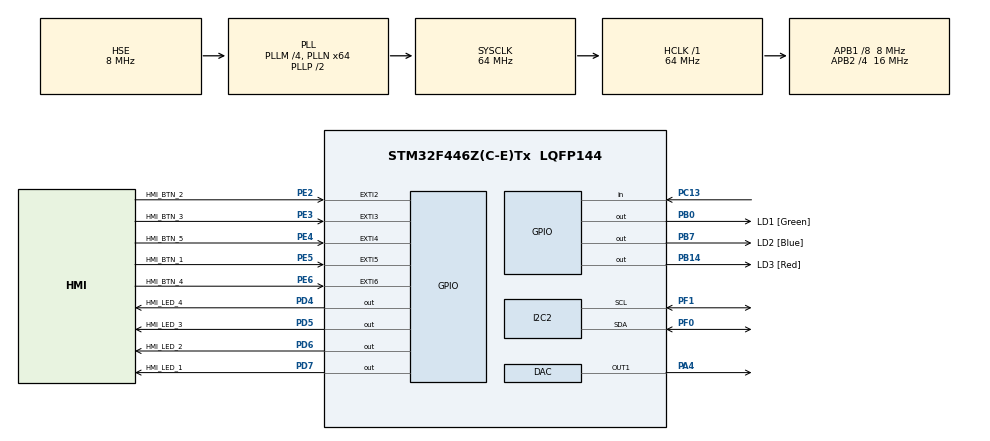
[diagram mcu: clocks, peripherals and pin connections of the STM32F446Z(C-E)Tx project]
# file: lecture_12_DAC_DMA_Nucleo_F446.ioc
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DAC.DAC_Trigger=DAC_TRIGGER_T2_TRGO
Dma.DAC1.0.Direction=DMA_MEMORY_TO_PERIPH
Dma.DAC1.0.FIFOMode=DMA_FIFOMODE_DISABLE
Dma.DAC1.0.Instance=DMA1_Stream5
Dma.DAC1.0.MemDataAlignment=DMA_MDATAALIGN_WORD
Dma.DAC1.0.MemInc=DMA_MINC_ENABLE
Dma.DAC1.0.Mode=DMA_CIRCULAR
Dma.DAC1.0.PeriphDataAlignment=DMA_PDATAALIGN_WORD
Dma.DAC1.0.PeriphInc=DMA_PINC_DISABLE
Dma.DAC1.0.Priority=DMA_PRIORITY_LOW
Dma.Request0=DAC1
Mcu.Family=STM32F4
Mcu.Name=STM32F446Z(C-E)Tx
Mcu.Package=LQFP144
NVIC.DMA1_Stream5_IRQn=true\:0\:0\:false\:false\:true\:false\:true\:true
NVIC.EXTI2_IRQn=true\:0\:0\:false\:false\:true\:true\:true\:true
NVIC.EXTI3_IRQn=true\:0\:0\:false\:false\:true\:true\:true\:true
NVIC.EXTI4_IRQn=true\:0\:0\:false\:false\:true\:true\:true\:true
NVIC.EXTI9_5_IRQn=true\:0\:0\:false\:false\:true\:true\:true\:true
NVIC.PriorityGroup=NVIC_PRIORITYGROUP_4
PA13.Mode=Serial_Wire
PA13.Signal=SYS_JTMS-SWDIO
PA14.Mode=Serial_Wire
PA14.Signal=SYS_JTCK-SWCLK
PA4.Signal=COMP_DAC1_group
PB0.GPIO_Label=LD1 [Green]
PB0.Signal=GPIO_Output
PB14.GPIO_Label=LD3 [Red]
PB14.Signal=GPIO_Output
PB7.GPIO_Label=LD2 [Blue]
PB7.Signal=GPIO_Output
PC13.Signal=GPIO_Input
PC14-OSC32_IN.Mode=LSE-External-Oscillator
PC14-OSC32_IN.Signal=RCC_OSC32_IN
PC15-OSC32_OUT.Mode=LSE-External-Oscillator
PC15-OSC32_OUT.Signal=RCC_OSC32_OUT
PD4.GPIO_Label=HMI_LED_4
PD4.GPIO_ModeDefaultOutputPP=GPIO_MODE_OUTPUT_PP
PD4.GPIO_PuPd=GPIO_NOPULL
PD4.GPIO_Speed=GPIO_SPEED_FREQ_LOW
PD4.PinState=GPIO_PIN_RESET
PD4.Signal=GPIO_Output
PD5.GPIO_Label=HMI_LED_3
PD5.GPIO_ModeDefaultOutputPP=GPIO_MODE_OUTPUT_PP
PD5.GPIO_PuPd=GPIO_NOPULL
PD5.GPIO_Speed=GPIO_SPEED_FREQ_LOW
PD5.PinState=GPIO_PIN_RESET
PD5.Signal=GPIO_Output
PD6.GPIO_Label=HMI_LED_2
PD6.GPIO_ModeDefaultOutputPP=GPIO_MODE_OUTPUT_PP
PD6.GPIO_PuPd=GPIO_NOPULL
PD6.GPIO_Speed=GPIO_SPEED_FREQ_LOW
PD6.PinState=GPIO_PIN_RESET
PD6.Signal=GPIO_Output
PD7.GPIO_Label=HMI_LED_1
PD7.GPIO_ModeDefaultOutputPP=GPIO_MODE_OUTPUT_PP
PD7.GPIO_PuPd=GPIO_NOPULL
PD7.GPIO_Speed=GPIO_SPEED_FREQ_LOW
PD7.PinState=GPIO_PIN_RESET
PD7.Signal=GPIO_Output
PE2.GPIO_Label=HMI_BTN_2
PE2.GPIO_ModeDefaultEXTI=GPIO_MODE_IT_RISING_FALLING
PE2.Signal=GPXTI2
PE3.GPIO_Label=HMI_BTN_3
PE3.GPIO_ModeDefaultEXTI=GPIO_MODE_IT_RISING_FALLING
PE3.Signal=GPXTI3
PE4.GPIO_Label=HMI_BTN_5
PE4.GPIO_ModeDefaultEXTI=GPIO_MODE_IT_RISING_FALLING
PE4.Signal=GPXTI4
PE5.GPIO_Label=HMI_BTN_1
PE5.GPIO_ModeDefaultEXTI=GPIO_MODE_IT_RISING_FALLING
PE5.Signal=GPXTI5
PE6.GPIO_Label=HMI_BTN_4
PE6.GPIO_ModeDefaultEXTI=GPIO_MODE_IT_RISING_FALLING
PE6.Signal=GPXTI6
PF0.Mode=I2C
PF0.Signal=I2C2_SDA
PF1.Mode=I2C
PF1.Signal=I2C2_SCL
PH0-OSC_IN.Mode=HSE-External-Clock-Source
PH0-OSC_IN.Signal=RCC_OSC_IN
PH1-OSC_OUT.Mode=HSE-External-Clock-Source
PH1-OSC_OUT.Signal=RCC_OSC_OUT
ProjectManager.HeapSize=0x200
ProjectManager.StackSize=0x400
ProjectManager.TargetToolchain=STM32CubeIDE
RCC.48MHZClocksFreq_Value=24000000
RCC.AHBFreq_Value=64000000
RCC.APB1CLKDivider=RCC_HCLK_DIV8
RCC.APB1Freq_Value=8000000
RCC.APB1TimFreq_Value=16000000
RCC.APB2CLKDivider=RCC_HCLK_DIV4
RCC.APB2Freq_Value=16000000
RCC.APB2TimFreq_Value=32000000
RCC.CortexFreq_Value=64000000
RCC.HCLKFreq_Value=64000000
RCC.HSE_VALUE=8000000
RCC.HSI_VALUE=16000000
RCC.PLLM=4
RCC.PLLMUL=RCC_PLL_MUL9
RCC.PLLN=64
RCC.PLLQ=7
RCC.PLLSourceVirtual=RCC_PLLSOURCE_HSE
RCC.PRESCALERUSB=RCC_USBCLKSOURCE_PLL_DIV1_5
RCC.SYSCLKFreq_VALUE=64000000
RCC.SYSCLKSource=RCC_SYSCLKSOURCE_PLLCLK
RCC.SYSCLKSourceVirtual=RCC_SYSCLKSOURCE_PLLCLK
RCC.USBFreq_Value=18285714.285714287
RCC.VCOOutputFreq_Value=128000000
SH.COMP_DAC1_group.0=DAC_OUT1,DAC_OUT1
TIM2.Period=999
TIM2.Prescaler=15
TIM2.TIM_MasterOutputTrigger=TIM_TRGO_UPDATE
VP_TIM2_VS_ClockSourceINT.Mode=Internal
board=NUCLEO-F446ZE

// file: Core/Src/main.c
/* USER CODE BEGIN Header */
/**
  ******************************************************************************
  * @file           : main.c
  * @brief          : Main program body
  ******************************************************************************
  * @attention
  *
  * Copyright (c) 2024 STMicroelectronics.
  * All rights reserved.
  *
  * This software is licensed under terms that can be found in the LICENSE file
  * in the root directory of this software component.
  * If no LICENSE file comes with this software, it is provided AS-IS.
  *
  ******************************************************************************
  */
/* USER CODE END Header */
#include "main.h"
#include "dac.h"
#include "dma.h"
#include "i2c.h"
#include "tim.h"
#include "gpio.h"

/* USER CODE BEGIN Includes */
#include "math.h"
#include "OLED.h"
#include "stdio.h"
/* USER CODE END Includes */

/* USER CODE BEGIN PV */
uint32_t normal_ekg[100];
uint32_t broken_ekg[100];

uint16_t speed_levels[] = {999, 699, 499, 299, 149};
uint8_t current_level = 0;
uint8_t max_speed_levels = sizeof(speed_levels) / sizeof(speed_levels[0]);

uint8_t state = 0;
/* USER CODE END PV */

void SystemClock_Config(void);

/* USER CODE BEGIN 0 */
// EKG jel generálása
void GenerateEKG(uint32_t* signal, uint32_t length)
{
    for (uint32_t i = 0; i < length; i++)
    {
        float t = (float)i / (float)length; // Normált idő: 0.0 és 1.0 között
        float val = 2048.0f;                // Nyugalmi alapvonal (kb. 1.65V)

        // P-hullám
        if (t >= 0.10f && t < 0.20f) {
            val += 220.0f * sinf((t - 0.10f) / 0.10f * M_PI);
        }
        // Q-tüske
        else if (t >= 0.30f && t < 0.34f) {
            val -= 300.0f * sinf((t - 0.30f) / 0.04f * M_PI);
        }
        // R-tüske
        else if (t >= 0.34f && t < 0.42f) {
            val += 1800.0f * sinf((t - 0.34f) / 0.08f * M_PI);
        }
        // S-tüske
        else if (t >= 0.42f && t < 0.46f) {
            val -= 600.0f * sinf((t - 0.42f) / 0.04f * M_PI);
        }
        // T-hullám
        else if (t >= 0.58f && t < 0.78f) {
            val += 450.0f * sinf((t - 0.58f) / 0.20f * M_PI);
        }

        // 12-bites korlátozás (0 – 4095)
        if (val > 4095.0f) val = 4095.0f;
        if (val < 0.0f) val = 0.0f;

        signal[i] = (uint32_t)val;
    }
}

// Összetört / Kaotikus szívritmus generálása
void GenerateBrokenHeart(uint32_t* signal, uint32_t length)
{
    for (uint32_t i = 0; i < length; i++)
    {
        float t = (float)i / (float)length;
        float val = 2048.0f;

        if (t < 0.15f) {
            val += 1500.0f * sinf(t * 10.0f * M_PI);
        } else if (t >= 0.15f && t < 0.30f) {
            val -= 1800.0f * sinf((t - 0.15f) * 15.0f * M_PI);
        } else if (t >= 0.30f && t < 0.45f) {
            val += 2000.0f * sinf((t - 0.30f) * 20.0f * M_PI);
        } else if (t >= 0.45f && t < 0.60f) {
            val -= 1200.0f * sinf((t - 0.45f) * 8.0f * M_PI);
        } else if (t >= 0.60f && t < 0.85f) {
            val += (i % 2 == 0 ? 800.0f : -800.0f);
        }

        if (val > 4095.0f) val = 4095.0f;
        if (val < 0.0f) val = 0.0f;

        signal[i] = (uint32_t)val;
    }
}
/* USER CODE END 0 */

int main(void)
{

  /* MCU Configuration--------------------------------------------------------*/

  /* Reset of all peripherals, Initializes the Flash interface and the Systick. */
  HAL_Init();

  /* Configure the system clock */
  SystemClock_Config();

  /* Initialize all configured peripherals */
  MX_GPIO_Init();
  MX_DMA_Init();
  MX_TIM2_Init();
  MX_DAC_Init();
  MX_I2C2_Init();

  /* USER CODE BEGIN 2 */

  /* EKG tömbök feltöltése kiszámított értékekkel */
  GenerateEKG(normal_ekg, 100);
  GenerateBrokenHeart(broken_ekg, 100);

  /* DAC indítása DMA támogatással (normál EKG) */
  HAL_DAC_Start_DMA(&hdac, DAC_CHANNEL_1, normal_ekg, 100, DAC_ALIGN_12B_R);

  /* Timer2 időzítő indítása */
  HAL_TIM_Base_Start(&htim2);

  /* USER CODE END 2 */

  /* Infinite loop */
  /* USER CODE BEGIN WHILE */
  while (1)
  {
      if (HAL_GPIO_ReadPin(GPIOC, GPIO_PIN_13) == GPIO_PIN_SET)
      {
        HAL_Delay(50); // Pergésmentesítés (Debounce)

        if (HAL_GPIO_ReadPin(GPIOC, GPIO_PIN_13) == GPIO_PIN_SET)
        {
          if (state == 0) // 1. FÁZIS: GYORSULÓ EKG
          {
            current_level++;
            if (current_level < max_speed_levels)
            {
              __HAL_TIM_SET_AUTORELOAD(&htim2, speed_levels[current_level]);
            }
            else
            {
              // Elértük a max sebességet -> Áttérés FLATLINE-ra (Egyenes vonal)
              state = 1;
              HAL_DAC_Stop_DMA(&hdac, DAC_CHANNEL_1);
              HAL_DAC_SetValue(&hdac, DAC_CHANNEL_1, DAC_ALIGN_12B_R, 2048);
              HAL_DAC_Start(&hdac, DAC_CHANNEL_1);
            }
          }
          else if (state == 1) // 2. FÁZIS: EGYENES VONALBÓL ÖSSZETÖRT EKG
          {
            state = 2;
            HAL_DAC_Stop(&hdac, DAC_CHANNEL_1);
            HAL_DAC_Start_DMA(&hdac, DAC_CHANNEL_1, broken_ekg, 100, DAC_ALIGN_12B_R);
            __HAL_TIM_SET_AUTORELOAD(&htim2, 399); // Közepes frekvencia
          }
          else if (state == 2) // 3. FÁZIS: ÚJRAÉLESZTÉS / RESTART
          {
            state = 0;
            current_level = 0;
            __HAL_TIM_SET_AUTORELOAD(&htim2, speed_levels[0]);
            HAL_DAC_Stop_DMA(&hdac, DAC_CHANNEL_1);
            HAL_DAC_Start_DMA(&hdac, DAC_CHANNEL_1, normal_ekg, 100, DAC_ALIGN_12B_R);
          }

          // Várakozás a gomb elengedésére
          while (HAL_GPIO_ReadPin(GPIOC, GPIO_PIN_13) == GPIO_PIN_SET) {
            HAL_Delay(10);
          }
        }
      }
    /* USER CODE END WHILE */

  }
}

void SystemClock_Config(void)
{
  RCC_OscInitTypeDef RCC_OscInitStruct = {0};
  RCC_ClkInitTypeDef RCC_ClkInitStruct = {0};

  /** Configure the main internal regulator output voltage
  */
  __HAL_RCC_PWR_CLK_ENABLE();
  __HAL_PWR_VOLTAGESCALING_CONFIG(PWR_REGULATOR_VOLTAGE_SCALE3);

  /** Initializes the RCC Oscillators according to the specified parameters
  * in the RCC_OscInitTypeDef structure.
  */
  RCC_OscInitStruct.OscillatorType = RCC_OSCILLATORTYPE_HSE;
  RCC_OscInitStruct.HSEState = RCC_HSE_BYPASS;
  RCC_OscInitStruct.PLL.PLLState = RCC_PLL_ON;
  RCC_OscInitStruct.PLL.PLLSource = RCC_PLLSOURCE_HSE;
  RCC_OscInitStruct.PLL.PLLM = 4;
  RCC_OscInitStruct.PLL.PLLN = 64;
  RCC_OscInitStruct.PLL.PLLP = RCC_PLLP_DIV2;
  RCC_OscInitStruct.PLL.PLLQ = 7;
  RCC_OscInitStruct.PLL.PLLR = 2;
  if (HAL_RCC_OscConfig(&RCC_OscInitStruct) != HAL_OK)
  {
    Error_Handler();
  }

  /** Initializes the CPU, AHB and APB buses clocks
  */
  RCC_ClkInitStruct.ClockType = RCC_CLOCKTYPE_HCLK|RCC_CLOCKTYPE_SYSCLK
                              |RCC_CLOCKTYPE_PCLK1|RCC_CLOCKTYPE_PCLK2;
  RCC_ClkInitStruct.SYSCLKSource = RCC_SYSCLKSOURCE_PLLCLK;
  RCC_ClkInitStruct.AHBCLKDivider = RCC_SYSCLK_DIV1;
  RCC_ClkInitStruct.APB1CLKDivider = RCC_HCLK_DIV8;
  RCC_ClkInitStruct.APB2CLKDivider = RCC_HCLK_DIV4;

  if (HAL_RCC_ClockConfig(&RCC_ClkInitStruct, FLASH_LATENCY_2) != HAL_OK)
  {
    Error_Handler();
  }
}

void Error_Handler(void)
{
  __disable_irq();
  while (1)
  {
  }
}
